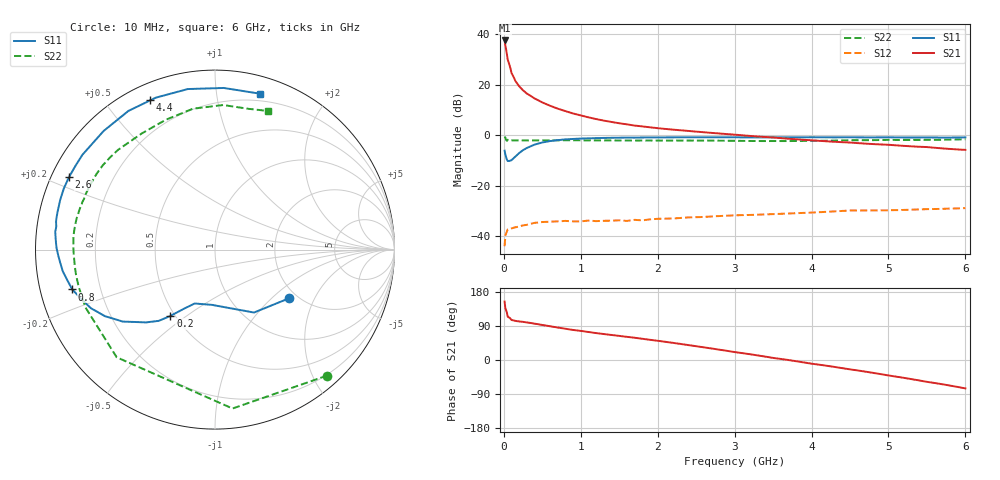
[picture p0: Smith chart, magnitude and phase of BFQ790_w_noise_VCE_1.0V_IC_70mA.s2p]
! Infineon Technologies  Discrete & RF Semiconductors
! BFQ790
! VCE =  1.0 V,  IC =  70 mA
! Common Emitter S-Parameters:  May 2015
# GHz  S  MA  R  50
!  f  S11  S21  S12  S22
! GHz  MAG  ANG  MAG  ANG  MAG  ANG  MAG  ANG
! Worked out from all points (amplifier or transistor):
!   77 points, 10 MHz to 6 GHz, reference 50 ohm
!   highest |S21| = 37.4 dB at 10 MHz (marker M1)
!   |S21| within 3 dB of that: start of sweep to 26.12 MHz
!   unconditionally stable (mu >= 1): 285.4 MHz to 354.7 MHz; 1.131 GHz to end of sweep
!   at 130 MHz: K = 0.70, MSG = 29.7 dB, |S12| = -36.6 dB
!   at 2.2 GHz: K = 1.19, MAG = 14.9 dB, |S12| = -32.9 dB
!   at 6 GHz: K = 1.46, MAG = 7.5 dB, |S12| = -28.8 dB
!   lowest NFmin = 2.39 dB at 1.5 GHz
!   S11 on the Smith chart (normalised r, x): 10 MHz: 1.80, -1.29; 200 MHz: 0.47, -0.44; 800 MHz: 0.10, -0.14; 2.6 GHz: 0.05, +0.23; 4.4 GHz: 0.07, +0.65; 6 GHz: 0.14, +1.32
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0.01  0.4928 -33.5  74.41 154.2  0.0064 62.8  0.9399 -48.3
0.02  0.4126 -58.2  58.91 135.9  0.0105 46.1  0.8908 -83.7
0.05  0.3084 -93.0  31.14 114.2  0.0137 24.9  0.8123 -132.4
0.1  0.3208 -110.7  16.83 105.6  0.0144 16.8  0.7906 -156.0
0.15  0.377 -118.2  11.77 103.2  0.0151 15.9  0.7872 -165.0
0.2  0.4447 -123.9  9.217 101.7  0.0157 16.5  0.7869 -169.9
0.25  0.506 -128.3  7.688 100.6  0.0165 14.9  0.7865 -173.1
0.3  0.5592 -133.5  6.622 99.1  0.0169 12.9  0.7864 -175.6
0.4  0.6516 -142.0  5.307 95.8  0.0185 11.9  0.7884 -179.4
0.5  0.7165 -148.8  4.432 92.4  0.0192 9.2  0.7896 178.0
0.6  0.7653 -154.8  3.821 89.1  0.0195 8.6  0.7916 175.6
0.7  0.7961 -160.1  3.341 85.7  0.0198 7.0  0.7917 173.5
0.8  0.8258 -164.4  2.989 82.5  0.0202 3.8  0.7916 171.8
1.1  0.8653 -175.1  2.25 73.9  0.0205 3.0  0.7899 166.9
1.5  0.8911 175.5  1.718 63.6  0.0208 0.7  0.7842 161.5
2.1  0.9034 164.2  1.328 48.0  0.0224 -2.7  0.7824 152.7
2.6  0.9084 153.7  1.142 33.4  0.0242 -7.4  0.7821 143.1
3.1  0.9051 142.2  0.994 18.1  0.0263 -13.3  0.7703 131.8
4.1  0.9079 119.9  0.773 -12.4  0.03 -25.6  0.7751 108.3
4.4  0.9065 113.4  0.726 -21.5  0.0318 -30.6  0.7877 101.2
5.1  0.9026 97.1  0.629 -43.9  0.033 -43.6  0.8046 84.7
6  0.9039 74.0  0.512 -74.9  0.0361 -61.3  0.8265 69.2
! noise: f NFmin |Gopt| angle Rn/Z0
0.45  3.41  0.35  124  0.37
0.9  2.51  0.5  160  0.14
1.5  2.39  0.64  -177  0.07
1.8  2.55  0.66  -171  0.08
2.6  3.1  0.72  -154  0.18
3.5  3.83  0.82  -137  0.48
